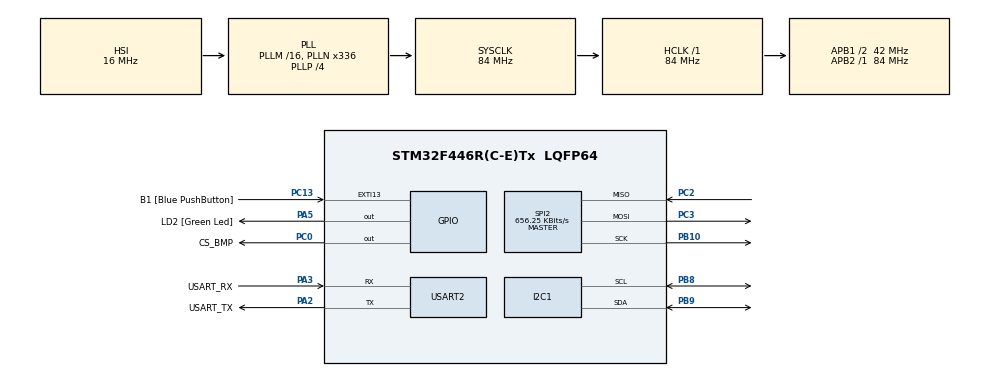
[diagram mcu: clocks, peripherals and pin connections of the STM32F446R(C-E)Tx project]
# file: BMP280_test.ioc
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Mcu.Family=STM32F4
Mcu.Name=STM32F446R(C-E)Tx
Mcu.Package=LQFP64
NVIC.PriorityGroup=NVIC_PRIORITYGROUP_0
PA13.GPIO_Label=TMS
PA13.Mode=Serial_Wire
PA13.Signal=SYS_JTMS-SWDIO
PA14.GPIO_Label=TCK
PA14.Mode=Serial_Wire
PA14.Signal=SYS_JTCK-SWCLK
PA2.GPIO_Label=USART_TX
PA2.Mode=Asynchronous
PA2.Signal=USART2_TX
PA3.GPIO_Label=USART_RX
PA3.Mode=Asynchronous
PA3.Signal=USART2_RX
PA5.GPIO_Label=LD2 [Green Led]
PA5.Signal=GPIO_Output
PB10.Mode=Full_Duplex_Master
PB10.Signal=SPI2_SCK
PB3.GPIO_Label=SWO
PB3.Signal=SYS_JTDO-SWO
PB8.Mode=I2C
PB8.Signal=I2C1_SCL
PB9.Mode=I2C
PB9.Signal=I2C1_SDA
PC0.GPIO_Label=CS_BMP
PC0.PinState=GPIO_PIN_SET
PC0.Signal=GPIO_Output
PC13.GPIO_Label=B1 [Blue PushButton]
PC13.GPIO_ModeDefaultEXTI=GPIO_MODE_IT_FALLING
PC13.Signal=GPXTI13
PC14-OSC32_IN.Mode=LSE-External-Oscillator
PC14-OSC32_IN.Signal=RCC_OSC32_IN
PC15-OSC32_OUT.Mode=LSE-External-Oscillator
PC15-OSC32_OUT.Signal=RCC_OSC32_OUT
PC2.Mode=Full_Duplex_Master
PC2.Signal=SPI2_MISO
PC3.Mode=Full_Duplex_Master
PC3.Signal=SPI2_MOSI
PH0-OSC_IN.Mode=HSE-External-Oscillator
PH0-OSC_IN.Signal=RCC_OSC_IN
PH1-OSC_OUT.Mode=HSE-External-Oscillator
PH1-OSC_OUT.Signal=RCC_OSC_OUT
ProjectManager.HeapSize=0x200
ProjectManager.StackSize=0x400
ProjectManager.TargetToolchain=STM32CubeIDE
RCC.48MHZClocksFreq_Value=84000000
RCC.AHBFreq_Value=84000000
RCC.APB1CLKDivider=RCC_HCLK_DIV2
RCC.APB1Freq_Value=42000000
RCC.APB1TimFreq_Value=84000000
RCC.APB2Freq_Value=84000000
RCC.APB2TimFreq_Value=84000000
RCC.CortexFreq_Value=84000000
RCC.FLatency-AdvancedSettings=FLASH_LATENCY_2
RCC.HCLKFreq_Value=84000000
RCC.HSE_VALUE=8000000
RCC.HSI_VALUE=16000000
RCC.PLLN=336
RCC.PLLP=RCC_PLLP_DIV4
RCC.SYSCLKFreq_VALUE=84000000
RCC.SYSCLKSource=RCC_SYSCLKSOURCE_PLLCLK
RCC.USBFreq_Value=168000000
RCC.VCOOutputFreq_Value=336000000
SPI2.BaudRatePrescaler=SPI_BAUDRATEPRESCALER_64
SPI2.CalculateBaudRate=656.25 KBits/s
SPI2.Direction=SPI_DIRECTION_2LINES
SPI2.Mode=SPI_MODE_MASTER
SPI2.VirtualType=VM_MASTER
USART2.VirtualMode=VM_ASYNC
board=NUCLEO-F446RE

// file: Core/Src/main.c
/* USER CODE BEGIN Header */
/**
  ******************************************************************************
  * @file           : main.c
  * @brief          : Main program body
  ******************************************************************************
  * @attention
  *
  * Copyright (c) 2026 STMicroelectronics.
  * All rights reserved.
  *
  * This software is licensed under terms that can be found in the LICENSE file
  * in the root directory of this software component.
  * If no LICENSE file comes with this software, it is provided AS-IS.
  *
  ******************************************************************************
  */
/* USER CODE END Header */
#include "main.h"

/* USER CODE BEGIN Includes */
#include <string.h>
#include <stdio.h>
#include "BMP280.h"
#include "sensor_data.h"
/* USER CODE END Includes */

I2C_HandleTypeDef hi2c1;

SPI_HandleTypeDef hspi2;

UART_HandleTypeDef huart2;

void SystemClock_Config(void);
static void MX_GPIO_Init(void);
static void MX_USART2_UART_Init(void);
static void MX_I2C1_Init(void);
static void MX_SPI2_Init(void);

/* USER CODE BEGIN 0 */
void BMP280_SelfTest(void)
{
	uint8_t chip_id;

	if (BMP280_ReadID(&chip_id) != HAL_OK)
	{
	    return;
	}

	if(chip_id != BMP280_CHIP_ID)
	{
	    return;
	}

	if (BMP280_Init() != HAL_OK)
	{
	    return;
	}

	if(BMP280_LoadCalibration() != HAL_OK)
		{
		    return;
		}

	if (BMP280_ReadRaw(&sensor_data.temperature_raw, &sensor_data.pressure_raw) != HAL_OK)
	{
	    return;
	}
}

/* USER CODE END 0 */

int main(void)
{

  /* MCU Configuration--------------------------------------------------------*/

  /* Reset of all peripherals, Initializes the Flash interface and the Systick. */
  HAL_Init();

  /* Configure the system clock */
  SystemClock_Config();

  /* Initialize all configured peripherals */
  MX_GPIO_Init();
  MX_USART2_UART_Init();
  MX_I2C1_Init();
  MX_SPI2_Init();
  /* USER CODE BEGIN 2 */
  char msg[] = "MAIN STARTED\r\n";
   HAL_UART_Transmit(&huart2,
                      (uint8_t *)msg,
                      strlen(msg),
                      HAL_MAX_DELAY);

   BMP280_SelfTest();
   /* BM280 Variables */
    int32_t temp_c;
    uint32_t pressure_pa;

    uint32_t BMP_last_transmit_time = 0;
    char BMP_data[300];
  /* USER CODE END 2 */

  /* Infinite loop */
  while (1)
  {

    /* USER CODE BEGIN 3 */
	  BMP280_ReadRaw(&sensor_data.temperature_raw, &sensor_data.pressure_raw);
	 	  temp_c = BMP280_CompensateTemp(sensor_data.temperature_raw);
	 	  pressure_pa = BMP280_CompensatePressure(sensor_data.pressure_raw)/256;

	 	  sprintf(BMP_data, "\r\n BMP280 Temperature: %ld.%02ld C, Pressure: %lu Pa\r\n"
	 			  "\r\n BMP280_Raw_temp: %lu, BMP280_Raw_Pressure: %lu \r\n",
	 	          temp_c / 100,
	 	          temp_c % 100,
	 	          pressure_pa,
	 			  sensor_data.temperature_raw,
	 			  sensor_data.pressure_raw);

	 	  if(HAL_GetTick() - BMP_last_transmit_time >= 1000) // Transmit every 1 second
	 	  {
	 		  HAL_UART_Transmit(&huart2, (uint8_t *)BMP_data, strlen(BMP_data) , HAL_MAX_DELAY);
	 		  BMP_last_transmit_time = HAL_GetTick();
	 	  }
  }
  /* USER CODE END 3 */
}

void SystemClock_Config(void)
{
  RCC_OscInitTypeDef RCC_OscInitStruct = {0};
  RCC_ClkInitTypeDef RCC_ClkInitStruct = {0};

  /** Configure the main internal regulator output voltage
  */
  __HAL_RCC_PWR_CLK_ENABLE();
  __HAL_PWR_VOLTAGESCALING_CONFIG(PWR_REGULATOR_VOLTAGE_SCALE3);

  /** Initializes the RCC Oscillators according to the specified parameters
  * in the RCC_OscInitTypeDef structure.
  */
  RCC_OscInitStruct.OscillatorType = RCC_OSCILLATORTYPE_HSI;
  RCC_OscInitStruct.HSIState = RCC_HSI_ON;
  RCC_OscInitStruct.HSICalibrationValue = RCC_HSICALIBRATION_DEFAULT;
  RCC_OscInitStruct.PLL.PLLState = RCC_PLL_ON;
  RCC_OscInitStruct.PLL.PLLSource = RCC_PLLSOURCE_HSI;
  RCC_OscInitStruct.PLL.PLLM = 16;
  RCC_OscInitStruct.PLL.PLLN = 336;
  RCC_OscInitStruct.PLL.PLLP = RCC_PLLP_DIV4;
  RCC_OscInitStruct.PLL.PLLQ = 2;
  RCC_OscInitStruct.PLL.PLLR = 2;
  if (HAL_RCC_OscConfig(&RCC_OscInitStruct) != HAL_OK)
  {
    Error_Handler();
  }

  /** Initializes the CPU, AHB and APB buses clocks
  */
  RCC_ClkInitStruct.ClockType = RCC_CLOCKTYPE_HCLK|RCC_CLOCKTYPE_SYSCLK
                              |RCC_CLOCKTYPE_PCLK1|RCC_CLOCKTYPE_PCLK2;
  RCC_ClkInitStruct.SYSCLKSource = RCC_SYSCLKSOURCE_PLLCLK;
  RCC_ClkInitStruct.AHBCLKDivider = RCC_SYSCLK_DIV1;
  RCC_ClkInitStruct.APB1CLKDivider = RCC_HCLK_DIV2;
  RCC_ClkInitStruct.APB2CLKDivider = RCC_HCLK_DIV1;

  if (HAL_RCC_ClockConfig(&RCC_ClkInitStruct, FLASH_LATENCY_2) != HAL_OK)
  {
    Error_Handler();
  }
}

static void MX_I2C1_Init(void)
{

  hi2c1.Instance = I2C1;
  hi2c1.Init.ClockSpeed = 100000;
  hi2c1.Init.DutyCycle = I2C_DUTYCYCLE_2;
  hi2c1.Init.OwnAddress1 = 0;
  hi2c1.Init.AddressingMode = I2C_ADDRESSINGMODE_7BIT;
  hi2c1.Init.DualAddressMode = I2C_DUALADDRESS_DISABLE;
  hi2c1.Init.OwnAddress2 = 0;
  hi2c1.Init.GeneralCallMode = I2C_GENERALCALL_DISABLE;
  hi2c1.Init.NoStretchMode = I2C_NOSTRETCH_DISABLE;
  if (HAL_I2C_Init(&hi2c1) != HAL_OK)
  {
    Error_Handler();
  }

}

static void MX_SPI2_Init(void)
{

  /* SPI2 parameter configuration*/
  hspi2.Instance = SPI2;
  hspi2.Init.Mode = SPI_MODE_MASTER;
  hspi2.Init.Direction = SPI_DIRECTION_2LINES;
  hspi2.Init.DataSize = SPI_DATASIZE_8BIT;
  hspi2.Init.CLKPolarity = SPI_POLARITY_LOW;
  hspi2.Init.CLKPhase = SPI_PHASE_1EDGE;
  hspi2.Init.NSS = SPI_NSS_SOFT;
  hspi2.Init.BaudRatePrescaler = SPI_BAUDRATEPRESCALER_64;
  hspi2.Init.FirstBit = SPI_FIRSTBIT_MSB;
  hspi2.Init.TIMode = SPI_TIMODE_DISABLE;
  hspi2.Init.CRCCalculation = SPI_CRCCALCULATION_DISABLE;
  hspi2.Init.CRCPolynomial = 10;
  if (HAL_SPI_Init(&hspi2) != HAL_OK)
  {
    Error_Handler();
  }

}

static void MX_USART2_UART_Init(void)
{

  huart2.Instance = USART2;
  huart2.Init.BaudRate = 115200;
  huart2.Init.WordLength = UART_WORDLENGTH_8B;
  huart2.Init.StopBits = UART_STOPBITS_1;
  huart2.Init.Parity = UART_PARITY_NONE;
  huart2.Init.Mode = UART_MODE_TX_RX;
  huart2.Init.HwFlowCtl = UART_HWCONTROL_NONE;
  huart2.Init.OverSampling = UART_OVERSAMPLING_16;
  if (HAL_UART_Init(&huart2) != HAL_OK)
  {
    Error_Handler();
  }

}

static void MX_GPIO_Init(void)
{
  GPIO_InitTypeDef GPIO_InitStruct = {0};

  /* GPIO Ports Clock Enable */
  __HAL_RCC_GPIOC_CLK_ENABLE();
  __HAL_RCC_GPIOH_CLK_ENABLE();
  __HAL_RCC_GPIOA_CLK_ENABLE();
  __HAL_RCC_GPIOB_CLK_ENABLE();

  /*Configure GPIO pin Output Level */
  HAL_GPIO_WritePin(CS_BMP_GPIO_Port, CS_BMP_Pin, GPIO_PIN_SET);

  /*Configure GPIO pin Output Level */
  HAL_GPIO_WritePin(LD2_GPIO_Port, LD2_Pin, GPIO_PIN_RESET);

  /*Configure GPIO pin : B1_Pin */
  GPIO_InitStruct.Pin = B1_Pin;
  GPIO_InitStruct.Mode = GPIO_MODE_IT_FALLING;
  GPIO_InitStruct.Pull = GPIO_NOPULL;
  HAL_GPIO_Init(B1_GPIO_Port, &GPIO_InitStruct);

  /*Configure GPIO pin : CS_BMP_Pin */
  GPIO_InitStruct.Pin = CS_BMP_Pin;
  GPIO_InitStruct.Mode = GPIO_MODE_OUTPUT_PP;
  GPIO_InitStruct.Pull = GPIO_NOPULL;
  GPIO_InitStruct.Speed = GPIO_SPEED_FREQ_LOW;
  HAL_GPIO_Init(CS_BMP_GPIO_Port, &GPIO_InitStruct);

  /*Configure GPIO pin : LD2_Pin */
  GPIO_InitStruct.Pin = LD2_Pin;
  GPIO_InitStruct.Mode = GPIO_MODE_OUTPUT_PP;
  GPIO_InitStruct.Pull = GPIO_NOPULL;
  GPIO_InitStruct.Speed = GPIO_SPEED_FREQ_LOW;
  HAL_GPIO_Init(LD2_GPIO_Port, &GPIO_InitStruct);

}

void Error_Handler(void)
{
  __disable_irq();
  while (1)
  {
  }
}
